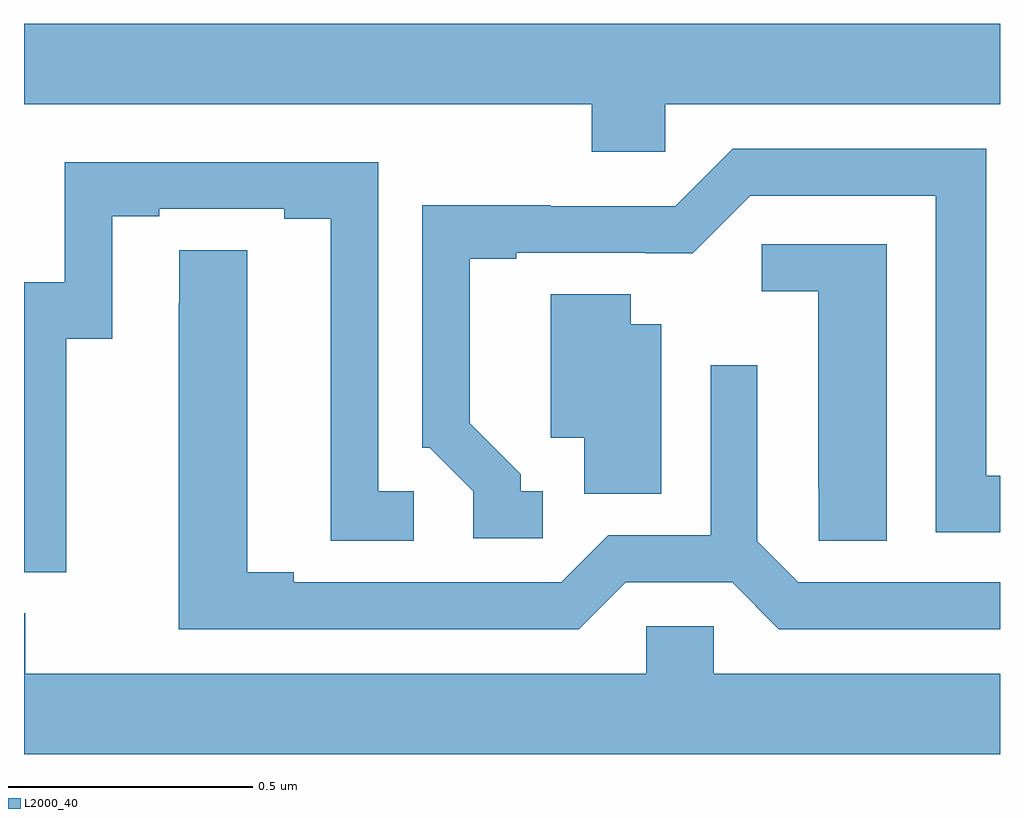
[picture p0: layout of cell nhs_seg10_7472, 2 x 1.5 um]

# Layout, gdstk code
import gdstk
lib = gdstk.Library(unit=1e-6, precision=1e-09)
def P(c, l, *ps):  # polygons
    for p in ps: c.add(gdstk.Polygon(p, *l))
L2000_40 = (2000, 40)

nhs_seg10_7472 = lib.new_cell('nhs_seg10_7472')
P(nhs_seg10_7472, L2000_40, [(205.314,1308.308),(206,1308.308),(206,1308.472),(204,1308.472),(204,1308.308),(205.163,1308.308),(205.163,1308.21),(205.314,1308.21)],
  [(205.063,1307.514),(205.018,1307.514),(205.018,1307.549),(204.913,1307.654),(204.913,1307.991),(205.009,1307.991),(205.009,1308.003),(205.274,1308.003),(205.274,1308.002),(205.37,1308.002),(205.488,1308.12),(205.868,1308.12),(205.868,1307.43),(206,1307.43),(206,1307.546),(205.972,1307.546),(205.972,1308.216),(205.452,1308.216),(205.335,1308.099),(205.079,1308.099),(205.079,1308.101),(204.816,1308.101),(204.816,1307.604),(204.831,1307.604),(204.921,1307.514),(204.921,1307.418),(205.063,1307.418)],
  [(204.087,1307.827),(204.181,1307.827),(204.181,1308.078),(204.277,1308.078),(204.277,1308.093),(204.533,1308.093),(204.533,1308.073),(204.629,1308.073),(204.629,1307.413),(204.799,1307.413),(204.799,1307.514),(204.726,1307.514),(204.726,1308.189),(204.084,1308.189),(204.084,1307.943),(204,1307.943),(204,1307.349),(204.087,1307.349)],
  [(205.768,1308.021),(205.512,1308.021),(205.512,1307.924),(205.628,1307.924),(205.628,1307.521),(205.629,1307.521),(205.629,1307.413),(205.768,1307.413)],
  [(205.233,1307.328),(205.451,1307.328),(205.547,1307.232),(206,1307.232),(206,1307.328),(205.587,1307.328),(205.503,1307.412),(205.503,1307.773),(205.407,1307.773),(205.407,1307.424),(205.197,1307.424),(205.101,1307.328),(204.553,1307.328),(204.553,1307.348),(204.457,1307.348),(204.457,1308.008),(204.318,1308.008),(204.318,1307.9),(204.317,1307.9),(204.317,1307.232),(205.137,1307.232)],
  [(205.306,1307.857),(205.243,1307.857),(205.243,1307.918),(205.079,1307.918),(205.079,1307.624),(205.148,1307.624),(205.148,1307.509),(205.306,1307.509)],
  [(206,1307.14),(205.413,1307.14),(205.413,1307.238),(205.275,1307.238),(205.275,1307.14),(204.003,1307.14),(204.003,1307.264),(204,1307.264),(204,1306.976),(206,1306.976)])

lib.write_gds('nhs_seg10_7472.gds')
